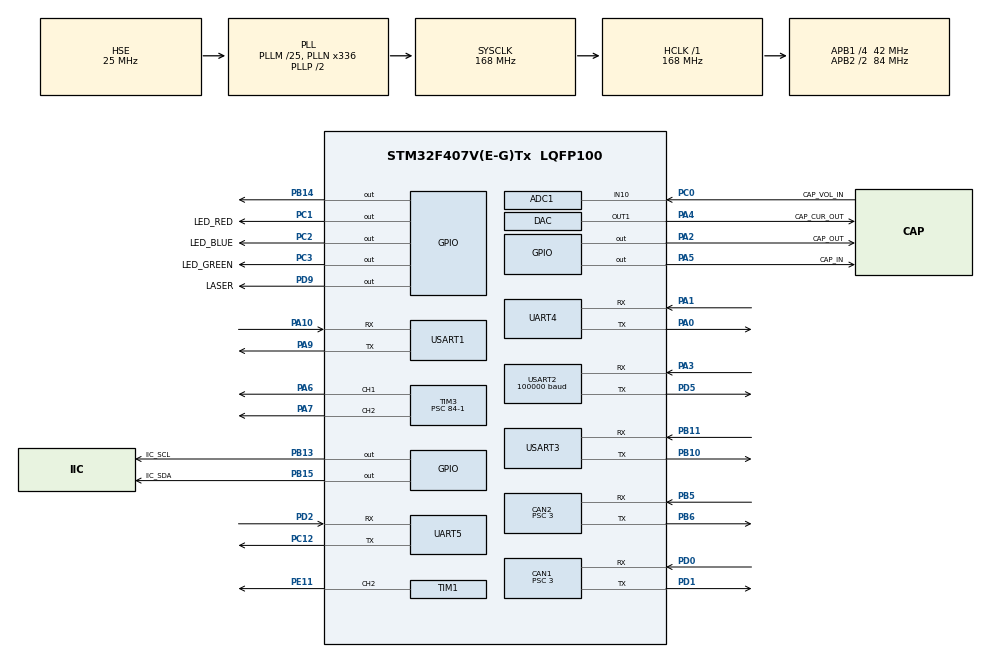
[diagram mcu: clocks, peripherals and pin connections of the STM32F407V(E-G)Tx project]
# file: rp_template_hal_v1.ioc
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ADC1.Channel-0\#ChannelRegularConversion=ADC_CHANNEL_10
ADC1.NbrOfConversionFlag=1
ADC1.Rank-0\#ChannelRegularConversion=1
ADC1.SamplingTime-0\#ChannelRegularConversion=ADC_SAMPLETIME_3CYCLES
ADC1.master=1
CAN1.BS1=CAN_BS1_9TQ
CAN1.BS2=CAN_BS2_4TQ
CAN1.CalculateBaudRate=1000000
CAN1.CalculateTimeQuantum=71.42857142857143
CAN1.Prescaler=3
CAN1.TXFP=ENABLE
CAN2.BS1=CAN_BS1_9TQ
CAN2.BS2=CAN_BS2_4TQ
CAN2.CalculateBaudRate=1000000
CAN2.CalculateTimeQuantum=71.42857142857143
CAN2.Prescaler=3
CAN2.TXFP=ENABLE
DAC.DAC_OutputBuffer=DAC_OUTPUTBUFFER_DISABLE
Dma.Request0=UART5_RX
Dma.Request1=USART1_RX
Dma.Request2=UART4_RX
Dma.Request3=USART2_RX
Dma.Request4=UART5_TX
Dma.Request5=USART3_RX
Dma.Request6=USART3_TX
Dma.UART4_RX.2.Direction=DMA_PERIPH_TO_MEMORY
Dma.UART4_RX.2.FIFOMode=DMA_FIFOMODE_DISABLE
Dma.UART4_RX.2.Instance=DMA1_Stream2
Dma.UART4_RX.2.MemDataAlignment=DMA_MDATAALIGN_BYTE
Dma.UART4_RX.2.MemInc=DMA_MINC_ENABLE
Dma.UART4_RX.2.Mode=DMA_CIRCULAR
Dma.UART4_RX.2.PeriphDataAlignment=DMA_PDATAALIGN_BYTE
Dma.UART4_RX.2.PeriphInc=DMA_PINC_DISABLE
Dma.UART4_RX.2.Priority=DMA_PRIORITY_LOW
Dma.UART5_RX.0.Direction=DMA_PERIPH_TO_MEMORY
Dma.UART5_RX.0.FIFOMode=DMA_FIFOMODE_DISABLE
Dma.UART5_RX.0.Instance=DMA1_Stream0
Dma.UART5_RX.0.MemDataAlignment=DMA_MDATAALIGN_BYTE
Dma.UART5_RX.0.MemInc=DMA_MINC_ENABLE
Dma.UART5_RX.0.Mode=DMA_CIRCULAR
Dma.UART5_RX.0.PeriphDataAlignment=DMA_PDATAALIGN_BYTE
Dma.UART5_RX.0.PeriphInc=DMA_PINC_DISABLE
Dma.UART5_RX.0.Priority=DMA_PRIORITY_VERY_HIGH
Dma.UART5_TX.4.Direction=DMA_MEMORY_TO_PERIPH
Dma.UART5_TX.4.FIFOMode=DMA_FIFOMODE_DISABLE
Dma.UART5_TX.4.Instance=DMA1_Stream7
Dma.UART5_TX.4.MemDataAlignment=DMA_MDATAALIGN_BYTE
Dma.UART5_TX.4.MemInc=DMA_MINC_ENABLE
Dma.UART5_TX.4.Mode=DMA_CIRCULAR
Dma.UART5_TX.4.PeriphDataAlignment=DMA_PDATAALIGN_BYTE
Dma.UART5_TX.4.PeriphInc=DMA_PINC_DISABLE
Dma.UART5_TX.4.Priority=DMA_PRIORITY_VERY_HIGH
Dma.USART1_RX.1.Direction=DMA_PERIPH_TO_MEMORY
Dma.USART1_RX.1.FIFOMode=DMA_FIFOMODE_DISABLE
Dma.USART1_RX.1.Instance=DMA2_Stream2
Dma.USART1_RX.1.MemDataAlignment=DMA_MDATAALIGN_BYTE
Dma.USART1_RX.1.MemInc=DMA_MINC_ENABLE
Dma.USART1_RX.1.Mode=DMA_CIRCULAR
Dma.USART1_RX.1.PeriphDataAlignment=DMA_PDATAALIGN_BYTE
Dma.USART1_RX.1.PeriphInc=DMA_PINC_DISABLE
Dma.USART1_RX.1.Priority=DMA_PRIORITY_HIGH
Dma.USART2_RX.3.Direction=DMA_PERIPH_TO_MEMORY
Dma.USART2_RX.3.FIFOMode=DMA_FIFOMODE_DISABLE
Dma.USART2_RX.3.Instance=DMA1_Stream5
Dma.USART2_RX.3.MemDataAlignment=DMA_MDATAALIGN_BYTE
Dma.USART2_RX.3.MemInc=DMA_MINC_ENABLE
Dma.USART2_RX.3.Mode=DMA_CIRCULAR
Dma.USART2_RX.3.PeriphDataAlignment=DMA_PDATAALIGN_BYTE
Dma.USART2_RX.3.PeriphInc=DMA_PINC_DISABLE
Dma.USART2_RX.3.Priority=DMA_PRIORITY_VERY_HIGH
Dma.USART3_RX.5.Direction=DMA_PERIPH_TO_MEMORY
Dma.USART3_RX.5.FIFOMode=DMA_FIFOMODE_DISABLE
Dma.USART3_RX.5.Instance=DMA1_Stream1
Dma.USART3_RX.5.MemDataAlignment=DMA_MDATAALIGN_BYTE
Dma.USART3_RX.5.MemInc=DMA_MINC_ENABLE
Dma.USART3_RX.5.Mode=DMA_CIRCULAR
Dma.USART3_RX.5.PeriphDataAlignment=DMA_PDATAALIGN_BYTE
Dma.USART3_RX.5.PeriphInc=DMA_PINC_DISABLE
Dma.USART3_RX.5.Priority=DMA_PRIORITY_HIGH
Dma.USART3_TX.6.Direction=DMA_MEMORY_TO_PERIPH
Dma.USART3_TX.6.FIFOMode=DMA_FIFOMODE_DISABLE
Dma.USART3_TX.6.Instance=DMA1_Stream3
Dma.USART3_TX.6.MemDataAlignment=DMA_MDATAALIGN_BYTE
Dma.USART3_TX.6.MemInc=DMA_MINC_ENABLE
Dma.USART3_TX.6.Mode=DMA_CIRCULAR
Dma.USART3_TX.6.PeriphDataAlignment=DMA_PDATAALIGN_BYTE
Dma.USART3_TX.6.PeriphInc=DMA_PINC_DISABLE
Dma.USART3_TX.6.Priority=DMA_PRIORITY_HIGH
FREERTOS.Tasks01=MonitorTask,0,256,StartMonitorTask,As weak,NULL,Dynamic,NULL,NULL;Check_Task,-3,128,CheckTask,As external,NULL,Dynamic,NULL,NULL;BMI_Task,-3,128,BmiUpdateTask,As external,NULL,Dynamic,NULL,NULL;Gimbal_Task,-3,128,GimbalTask,As external,NULL,Dynamic,NULL,NULL;Shoot_Task,-3,128,ShootTask,As external,NULL,Dynamic,NULL,NULL;H2M_Task,-3,128,H2MTask,As external,NULL,Dynamic,NULL,NULL
Mcu.Family=STM32F4
Mcu.Name=STM32F407V(E-G)Tx
Mcu.Package=LQFP100
NVIC.CAN1_RX0_IRQn=true\:5\:0\:false\:false\:true\:true\:true\:true\:true
NVIC.CAN2_RX0_IRQn=true\:5\:0\:false\:false\:true\:true\:true\:true\:true
NVIC.DMA1_Stream0_IRQn=true\:5\:0\:false\:false\:true\:true\:false\:true\:true
NVIC.DMA1_Stream1_IRQn=true\:5\:0\:false\:false\:true\:true\:false\:true\:true
NVIC.DMA1_Stream2_IRQn=true\:5\:0\:false\:false\:true\:true\:false\:true\:true
NVIC.DMA1_Stream3_IRQn=true\:5\:0\:false\:false\:true\:true\:false\:true\:true
NVIC.DMA1_Stream5_IRQn=true\:5\:0\:false\:false\:true\:true\:false\:true\:true
NVIC.DMA1_Stream7_IRQn=true\:5\:0\:false\:false\:true\:true\:false\:true\:true
NVIC.DMA2_Stream2_IRQn=true\:5\:0\:false\:false\:true\:true\:false\:true\:true
NVIC.PriorityGroup=NVIC_PRIORITYGROUP_4
NVIC.TIM2_IRQn=true\:0\:0\:false\:false\:true\:false\:false\:true\:true
NVIC.TimeBase=TIM2_IRQn
NVIC.TimeBaseIP=TIM2
NVIC.UART4_IRQn=true\:5\:0\:false\:false\:true\:true\:true\:true\:true
NVIC.UART5_IRQn=true\:5\:0\:false\:false\:true\:true\:true\:true\:true
NVIC.USART1_IRQn=true\:5\:0\:false\:false\:true\:true\:true\:true\:true
NVIC.USART2_IRQn=true\:5\:0\:false\:false\:true\:true\:true\:true\:true
NVIC.USART3_IRQn=true\:5\:0\:false\:false\:true\:false\:true\:true\:true
PA0-WKUP.Mode=Asynchronous
PA0-WKUP.Signal=UART4_TX
PA1.Mode=Asynchronous
PA1.Signal=UART4_RX
PA10.Mode=Asynchronous
PA10.Signal=USART1_RX
PA2.GPIO_Label=CAP_OUT
PA2.GPIO_Speed=GPIO_SPEED_FREQ_VERY_HIGH
PA2.Signal=GPIO_Output
PA3.Mode=Asynchronous
PA3.Signal=USART2_RX
PA4.GPIO_Label=CAP_CUR_OUT
PA4.Signal=COMP_DAC1_group
PA5.GPIO_Label=CAP_IN
PA5.GPIO_Speed=GPIO_SPEED_FREQ_VERY_HIGH
PA5.Signal=GPIO_Output
PA6.Signal=S_TIM3_CH1
PA7.Signal=S_TIM3_CH2
PA9.Mode=Asynchronous
PA9.Signal=USART1_TX
PB10.Mode=Asynchronous
PB10.Signal=USART3_TX
PB11.Mode=Asynchronous
PB11.Signal=USART3_RX
PB13.GPIO_Label=IIC_SCL
PB13.GPIO_Speed=GPIO_SPEED_FREQ_VERY_HIGH
PB13.PinState=GPIO_PIN_SET
PB13.Signal=GPIO_Output
PB14.GPIO_ModeDefaultOutputPP=GPIO_MODE_OUTPUT_PP
PB14.GPIO_PuPd=GPIO_PULLUP
PB14.GPIO_Speed=GPIO_SPEED_FREQ_VERY_HIGH
PB14.PinState=GPIO_PIN_SET
PB14.Signal=GPIO_Output
PB15.GPIO_Label=IIC_SDA
PB15.GPIO_Speed=GPIO_SPEED_FREQ_VERY_HIGH
PB15.PinState=GPIO_PIN_SET
PB15.Signal=GPIO_Output
PB5.Mode=CAN_Activate
PB5.Signal=CAN2_RX
PB6.Mode=CAN_Activate
PB6.Signal=CAN2_TX
PC0.GPIO_Label=CAP_VOL_IN
PC0.Signal=ADCx_IN10
PC1.GPIO_Label=LED_RED
PC1.PinState=GPIO_PIN_SET
PC1.Signal=GPIO_Output
PC12.Mode=Asynchronous
PC12.Signal=UART5_TX
PC2.GPIO_Label=LED_BLUE
PC2.PinState=GPIO_PIN_SET
PC2.Signal=GPIO_Output
PC3.GPIO_Label=LED_GREEN
PC3.GPIO_Speed=GPIO_SPEED_FREQ_LOW
PC3.PinState=GPIO_PIN_SET
PC3.Signal=GPIO_Output
PD0.Mode=CAN_Activate
PD0.Signal=CAN1_RX
PD1.Mode=CAN_Activate
PD1.Signal=CAN1_TX
PD2.Mode=Asynchronous
PD2.Signal=UART5_RX
PD5.Mode=Asynchronous
PD5.Signal=USART2_TX
PD9.GPIO_Label=LASER
PD9.GPIO_Speed=GPIO_SPEED_FREQ_LOW
PD9.PinState=GPIO_PIN_SET
PD9.Signal=GPIO_Output
PE11.Signal=S_TIM1_CH2
PH0-OSC_IN.Mode=HSE-External-Oscillator
PH0-OSC_IN.Signal=RCC_OSC_IN
PH1-OSC_OUT.Mode=HSE-External-Oscillator
PH1-OSC_OUT.Signal=RCC_OSC_OUT
ProjectManager.HeapSize=0x200
ProjectManager.StackSize=0x400
ProjectManager.TargetToolchain=MDK-ARM V5
RCC.48MHZClocksFreq_Value=84000000
RCC.AHBFreq_Value=168000000
RCC.APB1CLKDivider=RCC_HCLK_DIV4
RCC.APB1Freq_Value=42000000
RCC.APB1TimFreq_Value=84000000
RCC.APB2CLKDivider=RCC_HCLK_DIV2
RCC.APB2Freq_Value=84000000
RCC.APB2TimFreq_Value=168000000
RCC.CortexFreq_Value=168000000
RCC.HCLKFreq_Value=168000000
RCC.HSE_VALUE=25000000
RCC.HSI_VALUE=16000000
RCC.LSE_VALUE=32768
RCC.PLLM=25
RCC.PLLN=336
RCC.PLLSourceVirtual=RCC_PLLSOURCE_HSE
RCC.SYSCLKFreq_VALUE=168000000
RCC.SYSCLKSource=RCC_SYSCLKSOURCE_PLLCLK
RCC.VCOOutputFreq_Value=336000000
SH.ADCx_IN10.0=ADC1_IN10,IN10
SH.COMP_DAC1_group.0=DAC_OUT1,DAC_OUT1
SH.S_TIM1_CH2.0=TIM1_CH2,PWM Generation2 CH2
SH.S_TIM3_CH1.0=TIM3_CH1,PWM Generation1 CH1
SH.S_TIM3_CH2.0=TIM3_CH2,PWM Generation2 CH2
TIM1.Channel-PWM\ Generation2\ CH2=TIM_CHANNEL_2
TIM1.Period=1000-1
TIM1.Prescaler=3360-1
TIM3.Channel-PWM\ Generation1\ CH1=TIM_CHANNEL_1
TIM3.Channel-PWM\ Generation2\ CH2=TIM_CHANNEL_2
TIM3.Period=2500-1
TIM3.Prescaler=84-1
UART4.VirtualMode=Asynchronous
UART5.VirtualMode=Asynchronous
USART1.VirtualMode=VM_ASYNC
USART2.BaudRate=100000
USART2.VirtualMode=VM_ASYNC
USART3.VirtualMode=VM_ASYNC
VP_FREERTOS_VS_CMSIS_V1.Mode=CMSIS_V1
VP_IWDG_VS_IWDG.Mode=IWDG_Activate
VP_SYS_VS_tim2.Mode=TIM2
VP_TIM1_VS_ClockSourceINT.Mode=Internal
VP_TIM3_VS_ClockSourceINT.Mode=Internal
board=custom

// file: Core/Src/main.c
/* USER CODE BEGIN Header */
/**
  ******************************************************************************
  * @file           : main.c
  * @brief          : Main program body
  ******************************************************************************
  * @attention
  *
  * <h2><center>&copy; Copyright (c) 2023 STMicroelectronics.
  * All rights reserved.</center></h2>
  *
  * This software component is licensed by ST under Ultimate Liberty license
  * SLA0044, the "License"; You may not use this file except in compliance with
  * the License. You may obtain a copy of the License at:
  *                             www.st.com/SLA0044
  *
  ******************************************************************************
  */
/* USER CODE END Header */
#include "main.h"
#include "cmsis_os.h"
#include "adc.h"
#include "can.h"
#include "dac.h"
#include "dma.h"
#include "iwdg.h"
#include "tim.h"
#include "usart.h"
#include "gpio.h"

/* USER CODE BEGIN Includes */
#include "driver.h"
#include "bmi.h"
#include "remote.h"
#include "9015_motor.h"
#include "3508_motor.h"
#include "dji_pid.h"
#include "can_protocol.h"
#include "rp_shoot.h"
#include "rp_gimbal.h"
#include "bmi2_defs.h"
/* USER CODE END Includes */

/* USER CODE BEGIN PV */

/*陀螺仪数据*/
bmi_t bmi_structure;
short gyrox, gyroy, gyroz;
short accx, accy, accz;

extern Master_Head_t          Master_Head_structure;
extern gimbal_t               gimbal_structure;
shoot_t                       shoot_structure;

/* USER CODE END PV */

void SystemClock_Config(void);
void MX_FREERTOS_Init(void);

int main(void)
{

  /* MCU Configuration--------------------------------------------------------*/

  /* Reset of all peripherals, Initializes the Flash interface and the Systick. */
  HAL_Init();

  /* Configure the system clock */
  SystemClock_Config();

  /* Initialize all configured peripherals */
  MX_GPIO_Init();
  MX_DMA_Init();
  MX_TIM3_Init();
  MX_USART2_UART_Init();
  MX_CAN1_Init();
  MX_CAN2_Init();
  MX_TIM1_Init();
  MX_ADC1_Init();
  MX_DAC_Init();
  MX_UART4_Init();
  MX_UART5_Init();
  MX_USART1_UART_Init();
  MX_USART3_UART_Init();
  //MX_IWDG_Init();
  /* USER CODE BEGIN 2 */

  DRIVER_Init();
  /*初始化*/
  Master_Head_INIT(&Master_Head_structure);

  gimbal_init(&gimbal_structure);

  SHOOT_INIT(&shoot_structure);

  LASER_ON();

  HAL_GPIO_WritePin(GPIOB,GPIO_PIN_14, GPIO_PIN_RESET);

  my_bmi_init();

  MX_IWDG_Init();
  /* USER CODE END 2 */

  /* Call init function for freertos objects (in freertos.c) */
  MX_FREERTOS_Init();

  /* Start scheduler */
  osKernelStart();

  /* We should never get here as control is now taken by the scheduler */
  /* Infinite loop */
  while (1)
  {

  }
}

void SystemClock_Config(void)
{
  RCC_OscInitTypeDef RCC_OscInitStruct = {0};
  RCC_ClkInitTypeDef RCC_ClkInitStruct = {0};

  /** Configure the main internal regulator output voltage
  */
  __HAL_RCC_PWR_CLK_ENABLE();
  __HAL_PWR_VOLTAGESCALING_CONFIG(PWR_REGULATOR_VOLTAGE_SCALE1);

  /** Initializes the RCC Oscillators according to the specified parameters
  * in the RCC_OscInitTypeDef structure.
  */
  RCC_OscInitStruct.OscillatorType = RCC_OSCILLATORTYPE_LSI|RCC_OSCILLATORTYPE_HSE;
  RCC_OscInitStruct.HSEState = RCC_HSE_ON;
  RCC_OscInitStruct.LSIState = RCC_LSI_ON;
  RCC_OscInitStruct.PLL.PLLState = RCC_PLL_ON;
  RCC_OscInitStruct.PLL.PLLSource = RCC_PLLSOURCE_HSE;
  RCC_OscInitStruct.PLL.PLLM = 25;
  RCC_OscInitStruct.PLL.PLLN = 336;
  RCC_OscInitStruct.PLL.PLLP = RCC_PLLP_DIV2;
  RCC_OscInitStruct.PLL.PLLQ = 4;
  if (HAL_RCC_OscConfig(&RCC_OscInitStruct) != HAL_OK)
  {
    Error_Handler();
  }

  /** Initializes the CPU, AHB and APB buses clocks
  */
  RCC_ClkInitStruct.ClockType = RCC_CLOCKTYPE_HCLK|RCC_CLOCKTYPE_SYSCLK
                              |RCC_CLOCKTYPE_PCLK1|RCC_CLOCKTYPE_PCLK2;
  RCC_ClkInitStruct.SYSCLKSource = RCC_SYSCLKSOURCE_PLLCLK;
  RCC_ClkInitStruct.AHBCLKDivider = RCC_SYSCLK_DIV1;
  RCC_ClkInitStruct.APB1CLKDivider = RCC_HCLK_DIV4;
  RCC_ClkInitStruct.APB2CLKDivider = RCC_HCLK_DIV2;

  if (HAL_RCC_ClockConfig(&RCC_ClkInitStruct, FLASH_LATENCY_5) != HAL_OK)
  {
    Error_Handler();
  }
}

void HAL_TIM_PeriodElapsedCallback(TIM_HandleTypeDef *htim)
{
  if (htim->Instance == TIM2) {
    HAL_IncTick();
  }
}

void Error_Handler(void)
{
}

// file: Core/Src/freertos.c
/* USER CODE BEGIN Header */
/**
  ******************************************************************************
  * File Name          : freertos.c
  * Description        : Code for freertos applications
  ******************************************************************************
  * @attention
  *
  * <h2><center>&copy; Copyright (c) 2023 STMicroelectronics.
  * All rights reserved.</center></h2>
  *
  * This software component is licensed by ST under Ultimate Liberty license
  * SLA0044, the "License"; You may not use this file except in compliance with
  * the License. You may obtain a copy of the License at:
  *                             www.st.com/SLA0044
  *
  ******************************************************************************
  */
/* USER CODE END Header */

#include "FreeRTOS.h"
#include "task.h"
#include "main.h"
#include "cmsis_os.h"

osThreadId MonitorTaskHandle;
osThreadId Check_TaskHandle;
osThreadId BMI_TaskHandle;
osThreadId Gimbal_TaskHandle;
osThreadId Shoot_TaskHandle;
osThreadId H2M_TaskHandle;

void StartMonitorTask(void const * argument);
extern void CheckTask(void const * argument);
extern void BmiUpdateTask(void const * argument);
extern void GimbalTask(void const * argument);
extern void ShootTask(void const * argument);
extern void H2MTask(void const * argument);

void MX_FREERTOS_Init(void); /* (MISRA C 2004 rule 8.1) */

/* GetIdleTaskMemory prototype (linked to static allocation support) */
void vApplicationGetIdleTaskMemory( StaticTask_t **ppxIdleTaskTCBBuffer, StackType_t **ppxIdleTaskStackBuffer, uint32_t *pulIdleTaskStackSize );

/* USER CODE BEGIN GET_IDLE_TASK_MEMORY */
static StaticTask_t xIdleTaskTCBBuffer;
static StackType_t xIdleStack[configMINIMAL_STACK_SIZE];

void vApplicationGetIdleTaskMemory( StaticTask_t **ppxIdleTaskTCBBuffer, StackType_t **ppxIdleTaskStackBuffer, uint32_t *pulIdleTaskStackSize )
{
  *ppxIdleTaskTCBBuffer = &xIdleTaskTCBBuffer;
  *ppxIdleTaskStackBuffer = &xIdleStack[0];
  *pulIdleTaskStackSize = configMINIMAL_STACK_SIZE;
  /* place for user code */
}
/* USER CODE END GET_IDLE_TASK_MEMORY */

void MX_FREERTOS_Init(void) {

  /* Create the thread(s) */
  /* definition and creation of MonitorTask */
  osThreadDef(MonitorTask, StartMonitorTask, osPriorityNormal, 0, 256);
  MonitorTaskHandle = osThreadCreate(osThread(MonitorTask), NULL);

  /* definition and creation of Check_Task */
  osThreadDef(Check_Task, CheckTask, osPriorityIdle, 0, 128);
  Check_TaskHandle = osThreadCreate(osThread(Check_Task), NULL);

  /* definition and creation of BMI_Task */
  osThreadDef(BMI_Task, BmiUpdateTask, osPriorityIdle, 0, 128);
  BMI_TaskHandle = osThreadCreate(osThread(BMI_Task), NULL);

  /* definition and creation of Gimbal_Task */
  osThreadDef(Gimbal_Task, GimbalTask, osPriorityIdle, 0, 128);
  Gimbal_TaskHandle = osThreadCreate(osThread(Gimbal_Task), NULL);

  /* definition and creation of Shoot_Task */
  osThreadDef(Shoot_Task, ShootTask, osPriorityIdle, 0, 128);
  Shoot_TaskHandle = osThreadCreate(osThread(Shoot_Task), NULL);

  /* definition and creation of H2M_Task */
  osThreadDef(H2M_Task, H2MTask, osPriorityIdle, 0, 128);
  H2M_TaskHandle = osThreadCreate(osThread(H2M_Task), NULL);

}

__weak void StartMonitorTask(void const * argument)
{
  for(;;)
  {
    osDelay(1);
  }
}
